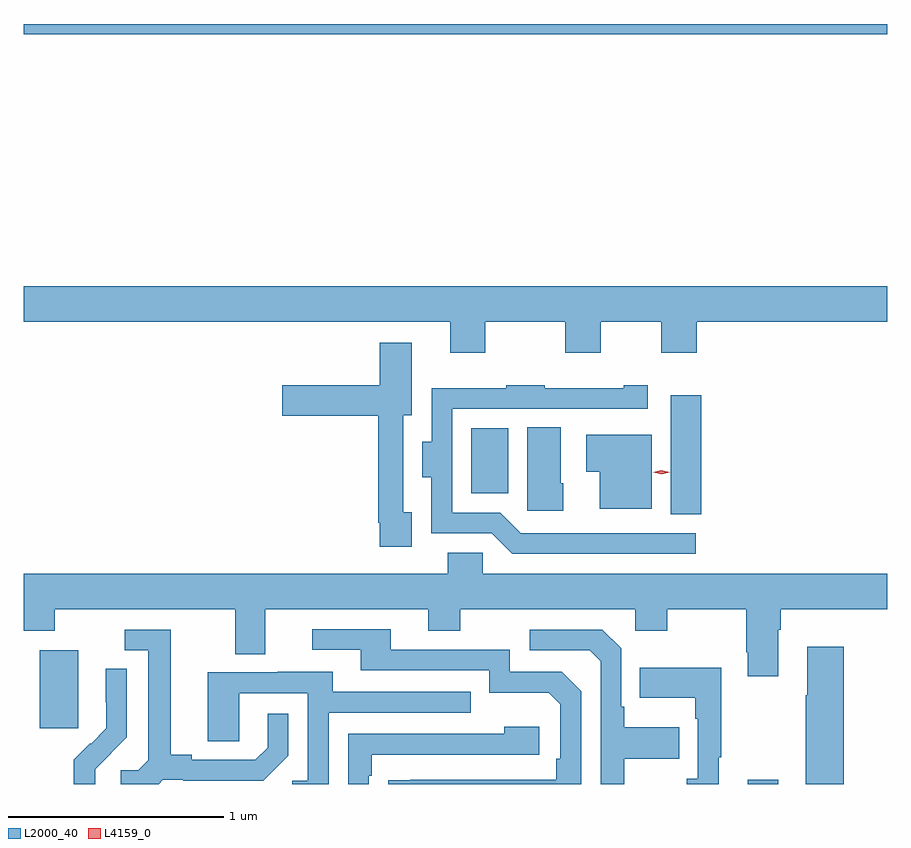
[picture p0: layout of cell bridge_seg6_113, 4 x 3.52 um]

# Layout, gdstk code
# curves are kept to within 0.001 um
import gdstk
lib = gdstk.Library(unit=1e-6, precision=1e-09)
def R(c, l, rs):  # rectangles x0, y0, x1, y1
    for r in rs: c.add(gdstk.rectangle(r[:2], r[2:], *l))
def P(c, l, *ps):  # polygons
    for p in ps: c.add(gdstk.Polygon(p, *l))
L2000_40 = (2000, 40)
L4159_0 = (4159, 0)

bridge_seg6_113 = lib.new_cell('bridge_seg6_113')
R(bridge_seg6_113, L2000_40, [(458.315,994.478,458.455,994.498), (455.033,994.737,455.212,995.098), (457.958,995.727,458.099,996.28), (457.034,995.825,457.204,996.127), (454.96,997.952,458.96,998)])
P(bridge_seg6_113, L2000_40, [(454.96,996.62),(456.935,996.62),(456.935,996.477),(457.099,996.477),(457.099,996.62),(457.469,996.62),(457.469,996.477),(457.633,996.477),(457.633,996.62),(457.913,996.62),(457.913,996.477),(458.077,996.477),(458.077,996.62),(458.96,996.62),(458.96,996.784),(454.96,996.784)],
  [(456.757,995.737),(456.717,995.737),(456.717,996.188),(456.757,996.188),(456.757,996.523),(456.608,996.523),(456.608,996.327),(456.156,996.327),(456.156,996.185),(456.601,996.185),(456.601,995.689),(456.609,995.689),(456.609,995.577),(456.757,995.577)],
  [(458.074,995.64),(457.263,995.64),(457.167,995.736),(456.945,995.736),(456.945,996.216),(457.852,996.216),(457.852,996.325),(457.739,996.325),(457.739,996.313),(457.373,996.313),(457.373,996.325),(457.195,996.325),(457.195,996.313),(456.849,996.313),(456.849,996.064),(456.806,996.064),(456.806,995.9),(456.848,995.9),(456.848,995.64),(457.128,995.64),(457.224,995.544),(458.074,995.544)],
  [(457.459,995.871),(457.447,995.871),(457.447,996.131),(457.292,996.131),(457.292,995.745),(457.459,995.745)],
  [(457.87,996.097),(457.565,996.097),(457.565,995.924),(457.628,995.924),(457.628,995.753),(457.87,995.753)],
  [(456.981,995.288),(457.794,995.288),(457.794,995.189),(457.941,995.189),(457.941,995.288),(458.308,995.288),(458.308,995.089),(458.315,995.089),(458.315,994.977),(458.455,994.977),(458.455,995.192),(458.468,995.192),(458.468,995.288),(458.96,995.288),(458.96,995.452),(457.086,995.452),(457.086,995.55),(456.923,995.55),(456.923,995.452),(454.96,995.452),(454.96,995.189),(455.103,995.189),(455.103,995.288),(455.939,995.288),(455.939,995.08),(456.079,995.08),(456.079,995.288),(456.833,995.288),(456.833,995.189),(456.981,995.189)],
  [(457.542,994.908),(457.452,994.998),(457.212,994.998),(457.212,995.1),(456.661,995.1),(456.661,995.196),(456.297,995.196),(456.297,995.1),(456.521,995.1),(456.521,995.004),(457.116,995.004),(457.116,994.901),(457.393,994.901),(457.446,994.848),(457.446,994.594),(457.426,994.594),(457.426,994.497),(456.649,994.496),(456.649,994.478),(457.542,994.478)],
  [(455.604,994.497),(455.698,994.497),(455.698,994.494),(456.07,994.494),(456.186,994.61),(456.186,994.804),(456.089,994.804),(456.089,994.647),(456.032,994.59),(455.737,994.59),(455.737,994.613),(455.641,994.613),(455.641,995.193),(455.427,995.193),(455.427,995.097),(455.537,995.097),(455.537,994.589),(455.49,994.542),(455.409,994.542),(455.409,994.478),(455.585,994.478)],
  [(457.741,994.594),(457.997,994.594),(457.997,994.741),(457.741,994.741),(457.741,994.837),(457.728,994.837),(457.728,995.106),(457.641,995.193),(457.305,995.193),(457.305,995.097),(457.581,995.097),(457.632,995.046),(457.632,994.478),(457.741,994.478)],
  [(458.759,995.113),(458.591,995.113),(458.591,994.889),(458.584,994.889),(458.584,994.478),(458.759,994.478)],
  [(458.179,994.601),(458.191,994.601),(458.191,995.017),(457.813,995.017),(457.813,994.877),(458.07,994.877),(458.07,994.781),(458.082,994.781),(458.082,994.502),(458.031,994.502),(458.031,994.478),(458.179,994.478)],
  [(455.29,994.546),(455.436,994.694),(455.436,995.012),(455.34,995.012),(455.34,994.858),(455.342,994.858),(455.342,994.736),(455.271,994.665),(455.268,994.668),(455.191,994.591),(455.191,994.478),(455.29,994.478)],
  [(456.372,994.809),(457.031,994.809),(457.031,994.905),(456.391,994.905),(456.391,994.999),(456.137,994.999),(456.137,994.995),(455.813,994.995),(455.813,994.675),(455.958,994.675),(455.958,994.899),(456.276,994.899),(456.276,994.494),(456.204,994.494),(456.204,994.478),(456.372,994.478)],
  [(456.558,994.517),(456.571,994.517),(456.571,994.614),(457.348,994.614),(457.348,994.744),(457.187,994.744),(457.187,994.71),(456.462,994.71),(456.462,994.478),(456.558,994.478)])
P(bridge_seg6_113, L4159_0, [(457.915,995.913),(457.876,995.922),(457.876,995.922),(457.876,995.922),(457.914,995.933),(457.953,995.923),(457.953,995.923),(457.953,995.923)])

lib.write_gds('bridge_seg6_113.gds')
